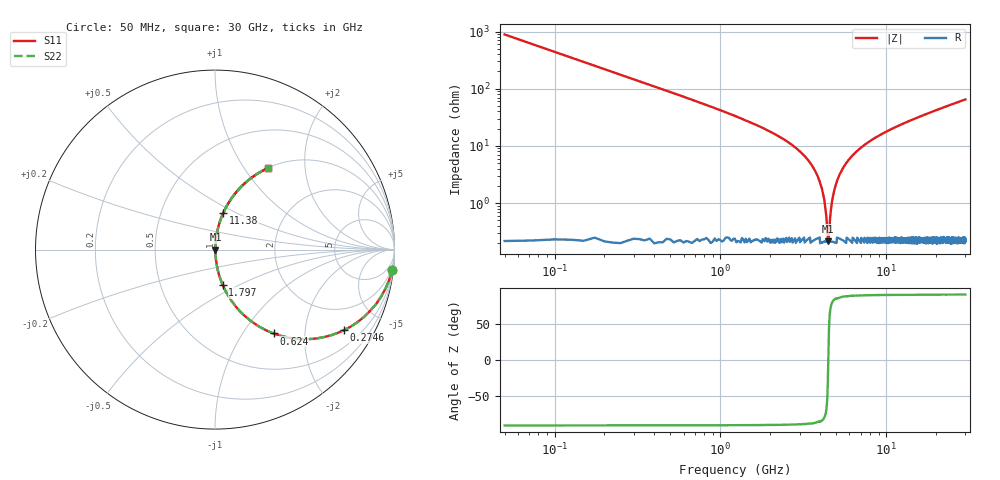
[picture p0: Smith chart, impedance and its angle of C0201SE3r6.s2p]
!	AVX Thin Film Operation 	Date: April 2014
!	Description: Accu-P® Series, Thin Film  SMD RF Capacitor
!	Part Number: 02013J3R6ABSTR
# MHZ S MA R 50
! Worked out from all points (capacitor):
!   1201 points, 50 MHz to 30 GHz, reference 50 ohm
!   read as one part in series: C = 3.6 pF near 199.8 MHz
!   lowest |Z| = 213 mohm at 4.468 GHz (marker M1)
!   series resonance near 4.471 GHz, so ESL is about 350 pH
!   S11 on the Smith chart (normalised r, x): 50 MHz: 1, -18; 274.6 MHz: 1.00, -3.21; 624 MHz: 1.00, -1.39; 1.797 GHz: 1.00, -0.41; 11.38 GHz: 1.00, +0.43; 30 GHz: 1.01, +1.30
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50  0.994 -6.5  0.112 83.5  0.112 83.5  0.994 -6.5
274.625  0.848 -31.9  0.529 58.0  0.529 58.0  0.848 -31.9
624.042  0.57 -55.1  0.82 34.7  0.82 34.7  0.57 -55.1
1073.292  0.361 -68.5  0.93 21.2  0.93 21.2  0.361 -68.5
1797.083  0.202 -77.7  0.977 11.6  0.977 11.6  0.202 -77.7
3020.042  0.079 -83.8  0.995 4.5  0.995 4.5  0.079 -83.8
3718.875  0.037 -84.4  0.997 2.1  0.997 2.1  0.037 -84.4
4093.25  0.018 -81.7  0.998 1.0  0.998 1.0  0.018 -81.7
4218.042  0.012 -78.3  0.998 0.7  0.998 0.7  0.012 -78.3
4367.792  0.005119 -63.8  0.998 0.3  0.998 0.3  0.005119 -63.8
4467.625  0.00224 -3.7  0.998 0.0  0.998 0.0  0.00224 -3.7
4567.458  0.004771 61.8  0.998 -0.2  0.998 -0.2  0.004771 61.8
4817.042  0.015 80.5  0.998 -0.8  0.998 -0.8  0.015 80.5
5041.667  0.024 83.3  0.997 -1.4  0.997 -1.4  0.024 83.3
5640.667  0.046 84.6  0.997 -2.6  0.997 -2.6  0.046 84.6
6639  0.08 83.8  0.995 -4.6  0.995 -4.6  0.08 83.8
10058.29  0.175 79.2  0.982 -10.1  0.982 -10.1  0.175 79.2
11381.08  0.208 77.4  0.976 -12.0  0.976 -12.0  0.208 77.4
15025  0.289 72.8  0.955 -16.8  0.955 -16.8  0.289 72.8
20016.67  0.387 66.9  0.92 -22.8  0.92 -22.8  0.387 66.9
25033.29  0.472 61.6  0.88 -28.1  0.88 -28.1  0.472 61.6
30000  0.543 56.9  0.838 -32.9  0.838 -32.9  0.543 56.9
